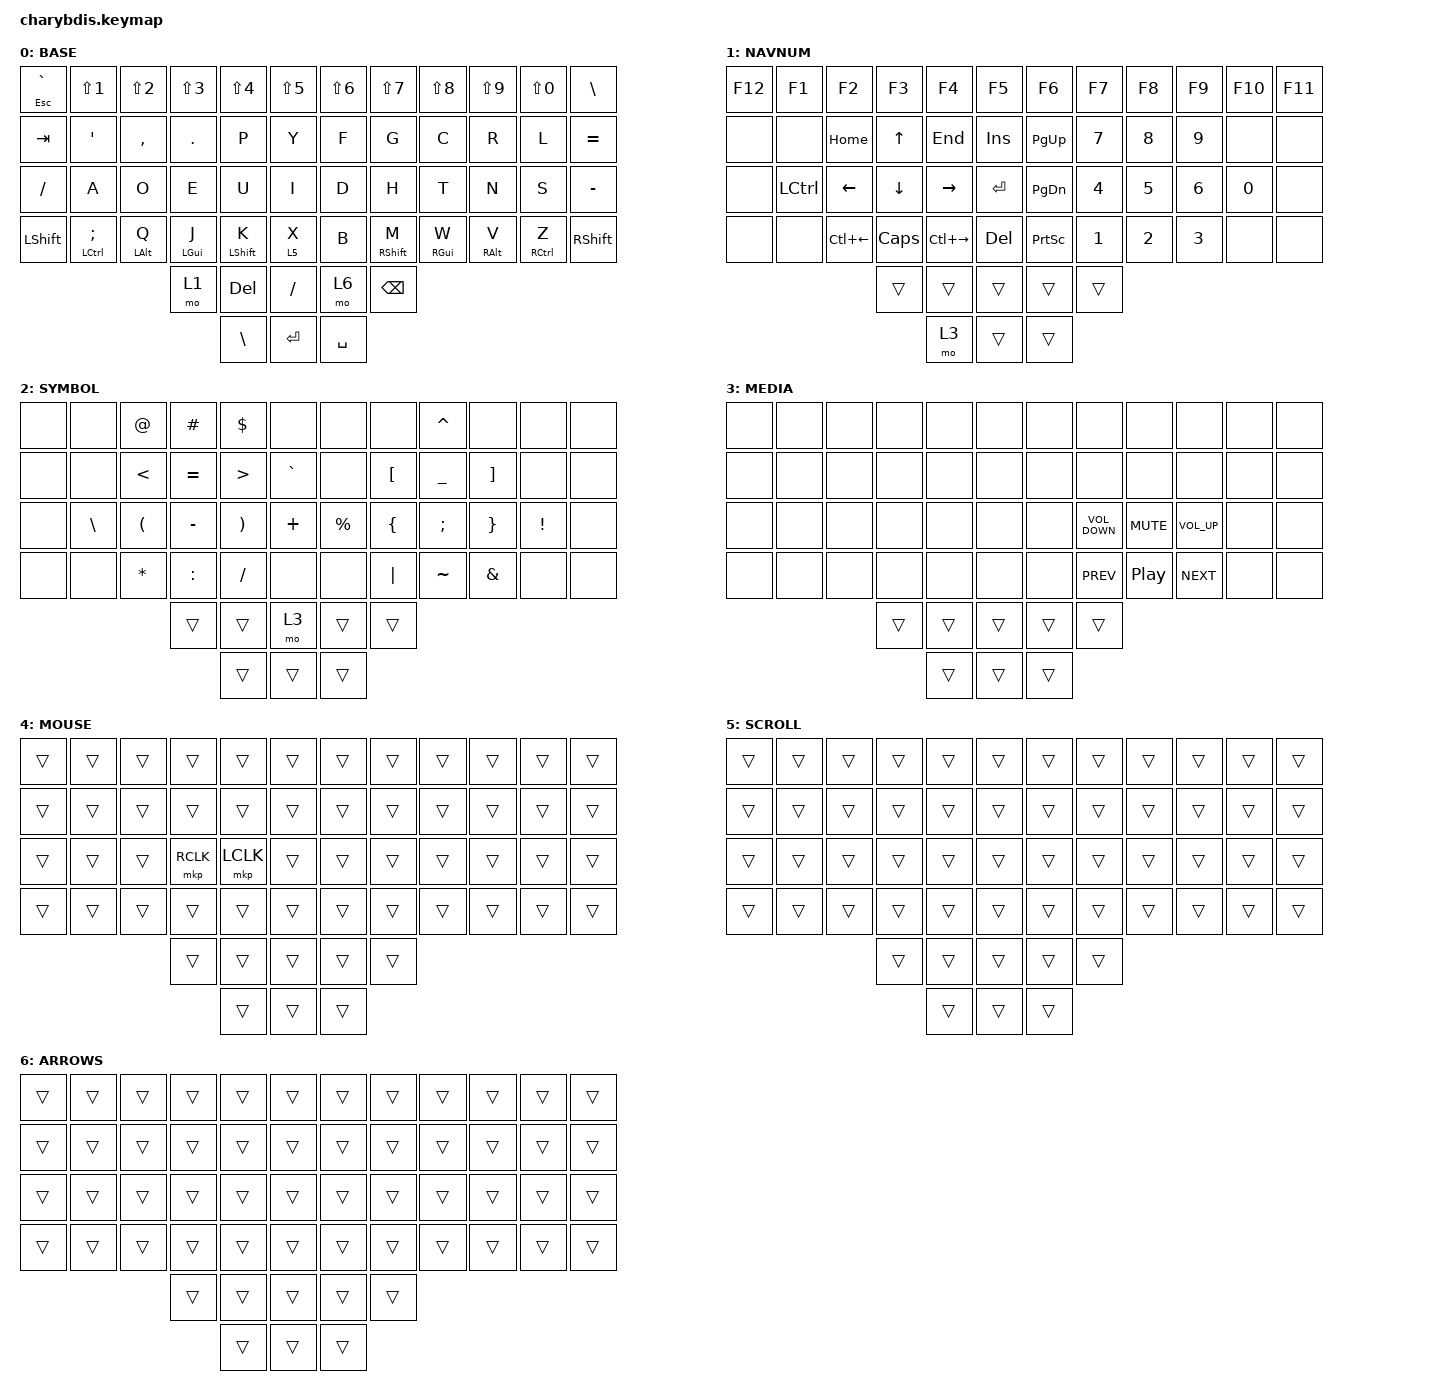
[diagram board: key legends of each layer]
#include <behaviors.dtsi>
#include <dt-bindings/zmk/keys.h>
#include <dt-bindings/zmk/pointing.h>

#define BASE 0
#define NAVNUM 1
#define SYMBOL 2
#define MEDIA 3
#define MOUSE 4
#define SCROLL 5
#define ARROWS 6
#define KEYS_L 0 1 2 3 4 10 11 12 13 14 20 21 22 23 24
#define KEYS_R 5 6 7 8 9 15 16 17 18 19 25 26 27 28 29
#define THUMBS 30 31 32 33 34 35
#define U_TAPPING_TERM 200

&sk {
    release-after-ms = <600>;
    quick-release;
};

&sl { ignore-modifiers; };

&mt { flavor = "tap-preferred"; };

&lt {
    flavor = "balanced";
    tapping-term-ms = <200>;
    quick-tap-ms = <175>;
};

&caps_word { /delete-property/ ignore-modifiers; };

/ {
    behaviors {
        u_mt: u_mt {
            compatible = "zmk,behavior-hold-tap";
            label = "u_mt";
            #binding-cells = <2>;
            tapping_term_ms = <U_TAPPING_TERM>;
            flavor = "tap-preferred";
            bindings = <&kp>, <&kp>;
        };

        u_lt: u_lt {
            compatible = "zmk,behavior-hold-tap";
            label = "u_lt";
            #binding-cells = <2>;
            tapping_term_ms = <U_TAPPING_TERM>;
            flavor = "tap-preferred";
            bindings = <&mo>, <&kp>;
        };

        Shift_Enter: Shift_Enter {
            compatible = "zmk,behavior-hold-tap";
            label = "SHIFT_ENTER";
            bindings = <&kp>, <&kp>;

            #binding-cells = <2>;
            hold-trigger-key-positions = <40>;
            tapping-term-ms = <100>;
        };

        hml: hml {
            compatible = "zmk,behavior-hold-tap";
            #binding-cells = <2>;
            flavor = "balanced";
            tapping-term-ms = <280>;
            quick-tap-ms = <175>;
            require-prior-idle-ms = <150>;
            hold-trigger-key-positions = <KEYS_R THUMBS 48 49 50 51 52 54 53 55 42 43 44 45 46 47 35 34 23 22 33 32 31 30 18 19 20 21 11 10 9 8 7 6>;
            hold-trigger-on-release;
            bindings = <&kp>, <&kp>;

            label = "HML";
        };

        hmr: hmr {
            compatible = "zmk,behavior-hold-tap";
            #binding-cells = <2>;
            flavor = "balanced";
            tapping-term-ms = <280>;
            quick-tap-ms = <175>;
            require-prior-idle-ms = <150>;
            hold-trigger-key-positions = <KEYS_L THUMBS 0 12 24 36 37 25 13 1 2 14 26 38 39 27 15 3 4 5 17 16 28 29 40 41 48 49 50 51 52 54 53 55>;
            hold-trigger-on-release;
            bindings = <&kp>, <&kp>;

            label = "HMR";
        };

        hml_s: hml_s {
            compatible = "zmk,behavior-hold-tap";
            #binding-cells = <2>;
            flavor = "balanced";
            tapping-term-ms = <2000>;
            quick-tap-ms = <175>;
            require-prior-idle-ms = <0>;
            hold-trigger-key-positions = <KEYS_R THUMBS>;
            hold-trigger-on-release;
            bindings = <&kp>, <&kp>;
        };

        hmr_s: hmr_s {
            compatible = "zmk,behavior-hold-tap";
            #binding-cells = <2>;
            flavor = "balanced";
            tapping-term-ms = <2000>;
            quick-tap-ms = <175>;
            require-prior-idle-ms = <0>;
            hold-trigger-key-positions = <KEYS_L THUMBS>;
            hold-trigger-on-release;
            bindings = <&kp>, <&kp>;
        };

        smart_shift: smart_shift {
            compatible = "zmk,behavior-mod-morph";
            #binding-cells = <0>;
            bindings = <&sk LSHIFT>, <&caps_word>;

            mods = <(MOD_LSFT)>;
        };

        u_ltm: u_ltm {
            compatible = "zmk,behavior-hold-tap";
            label = "U_LTM";
            #binding-cells = <2>;
            tapping_term_ms = <U_TAPPING_TERM>;
            flavor = "tap-preferred";
            bindings = <&mo>, <&mkp>;
        };
    };

    combos {
        compatible = "zmk,combos";

        LeftClickRight {
            bindings = <&mkp LCLK>;
            key-positions = <43 44>;
        };

        RightClickRight {
            bindings = <&mkp RCLK>;
            key-positions = <44 45>;
        };

        MiddleClickRight {
            bindings = <&mkp MCLK>;
            key-positions = <43 44 45>;
        };

        ParaLeft {
            bindings = <&kp LEFT_BRACKET>;
            key-positions = <16 28>;
        };

        ParaRight {
            bindings = <&kp RIGHT_BRACKET>;
            key-positions = <19 31>;
        };

        BrakLeft {
            bindings = <&kp LEFT_BRACE>;
            key-positions = <15 27>;
        };

        BrakRight {
            bindings = <&kp RIGHT_BRACE>;
            key-positions = <20 32>;
        };

        Delete {
            bindings = <&kp DELETE>;
            key-positions = <8 9>;
        };

        CapsWord {
            bindings = <&caps_word>;
            key-positions = <27 28 31 32>;
        };

        right-parentheses {
            bindings = <&kp RIGHT_PARENTHESIS>;
            key-positions = <21 33>;
        };

        left-parentheses {
            bindings = <&kp LEFT_PARENTHESIS>;
            key-positions = <14 26>;
        };
    };

    chosen { zmk,physical-layout = &charybdis_6col_layout; };

    keymap {
        compatible = "zmk,keymap";

        BASE {
            display-name = "BASE";
            bindings = <
&hml ESC GRAVE  &kp LS(NUMBER_1)             &kp LS(N2)       &kp LS(N3)       &kp LS(N4)         &kp LS(N5)    &kp LS(N6)  &kp LS(N7)          &kp LS(N8)        &kp LS(N9)        &kp LS(N0)    &kp BACKSLASH
&kp TAB         &kp SQT                      &kp COMMA        &kp PERIOD       &kp P              &kp Y         &kp F       &kp G               &kp C             &kp R             &kp L         &kp EQUAL
&kp SLASH       &kp A                        &kp O            &kp E            &kp U              &kp I         &kp D       &kp H               &kp T             &kp N             &kp S         &kp MINUS
&kp LEFT_SHIFT  &hml LEFT_CONTROL SEMICOLON  &hmr LEFT_ALT Q  &hml LEFT_GUI J  &hml LEFT_SHIFT K  &u_lt 5 X     &kp B       &hmr RIGHT_SHIFT M  &hmr RIGHT_GUI W  &hmr RIGHT_ALT V  &hmr RCTRL Z  &kp RIGHT_SHIFT
                                                              &mo 1            &kp DELETE         &kp SLASH     &mo 6       &kp BACKSPACE
                                                                               &kp BACKSLASH      &kp ENTER     &kp SPACE
            >;
        };

        NAVNUM {
            display-name = "NAVNUM";
            bindings = <
&kp F12  &kp F1            &kp F2        &kp F3        &kp F4         &kp F5        &kp F6           &kp F7        &kp F8        &kp F9        &kp F10       &kp F11
&none    &none             &kp HOME      &kp UP        &kp END        &kp INSERT    &kp PAGE_UP      &kp NUMBER_7  &kp NUMBER_8  &kp NUMBER_9  &none         &none
&none    &kp LEFT_CONTROL  &kp LEFT      &kp DOWN      &kp RIGHT      &kp ENTER     &kp PAGE_DOWN    &kp NUMBER_4  &kp NUMBER_5  &kp NUMBER_6  &kp NUMBER_0  &none
&none    &none             &kp LC(LEFT)  &kp CAPSLOCK  &kp LC(RIGHT)  &kp DELETE    &kp PRINTSCREEN  &kp NUMBER_1  &kp NUMBER_2  &kp NUMBER_3  &none         &none
                                         &trans        &trans         &trans        &trans           &trans
                                                       &mo 3          &trans        &trans
            >;
        };

        SYMBOL {
            display-name = "SYMBOL";
            bindings = <
&none  &none          &kp AT_SIGN           &kp HASH   &kp DOLLAR             &none        &none        &none             &kp CARET       &none              &none            &none
&none  &none          &kp LESS_THAN         &kp EQUAL  &kp GREATER_THAN       &kp GRAVE    &none        &kp LEFT_BRACKET  &kp UNDERSCORE  &kp RIGHT_BRACKET  &none            &none
&none  &kp BACKSLASH  &kp LEFT_PARENTHESIS  &kp MINUS  &kp RIGHT_PARENTHESIS  &kp PLUS     &kp PERCENT  &kp LEFT_BRACE    &kp SEMICOLON   &kp RIGHT_BRACE    &kp EXCLAMATION  &none
&none  &none          &kp ASTERISK          &kp COLON  &kp SLASH              &none        &none        &kp PIPE          &kp TILDE       &kp AMPERSAND      &none            &none
                                            &trans     &trans                 &mo 3        &trans       &trans
                                                       &trans                 &trans       &trans
            >;
        };

        MEDIA {
            display-name = "MEDIA";
            bindings = <
&none  &none  &none  &none   &none   &none     &none   &none              &none             &none            &none  &none
&none  &none  &none  &none   &none   &none     &none   &none              &none             &none            &none  &none
&none  &none  &none  &none   &none   &none     &none   &kp C_VOLUME_DOWN  &kp C_MUTE        &kp C_VOLUME_UP  &none  &none
&none  &none  &none  &none   &none   &none     &none   &kp C_PREV         &kp C_PLAY_PAUSE  &kp C_NEXT       &none  &none
                     &trans  &trans  &trans    &trans  &trans
                             &trans  &trans    &trans
            >;
        };

        MOUSE {
            display-name = "MOUSE";
            bindings = <
&trans  &trans  &trans  &trans     &trans     &trans    &trans  &trans  &trans  &trans  &trans  &trans
&trans  &trans  &trans  &trans     &trans     &trans    &trans  &trans  &trans  &trans  &trans  &trans
&trans  &trans  &trans  &mkp RCLK  &mkp LCLK  &trans    &trans  &trans  &trans  &trans  &trans  &trans
&trans  &trans  &trans  &trans     &trans     &trans    &trans  &trans  &trans  &trans  &trans  &trans
                        &trans     &trans     &trans    &trans  &trans
                                   &trans     &trans    &trans
            >;
        };

        SCROLL {
            display-name = "SCROLL";
            bindings = <
&trans  &trans  &trans  &trans  &trans  &trans    &trans  &trans  &trans  &trans  &trans  &trans
&trans  &trans  &trans  &trans  &trans  &trans    &trans  &trans  &trans  &trans  &trans  &trans
&trans  &trans  &trans  &trans  &trans  &trans    &trans  &trans  &trans  &trans  &trans  &trans
&trans  &trans  &trans  &trans  &trans  &trans    &trans  &trans  &trans  &trans  &trans  &trans
                        &trans  &trans  &trans    &trans  &trans
                                &trans  &trans    &trans
            >;
        };

        ARROWS {
            display-name = "ARROWS";
            bindings = <
&trans  &trans  &trans  &trans  &trans  &trans    &trans  &trans  &trans  &trans  &trans  &trans
&trans  &trans  &trans  &trans  &trans  &trans    &trans  &trans  &trans  &trans  &trans  &trans
&trans  &trans  &trans  &trans  &trans  &trans    &trans  &trans  &trans  &trans  &trans  &trans
&trans  &trans  &trans  &trans  &trans  &trans    &trans  &trans  &trans  &trans  &trans  &trans
                        &trans  &trans  &trans    &trans  &trans
                                &trans  &trans    &trans
            >;
        };
    };
};
